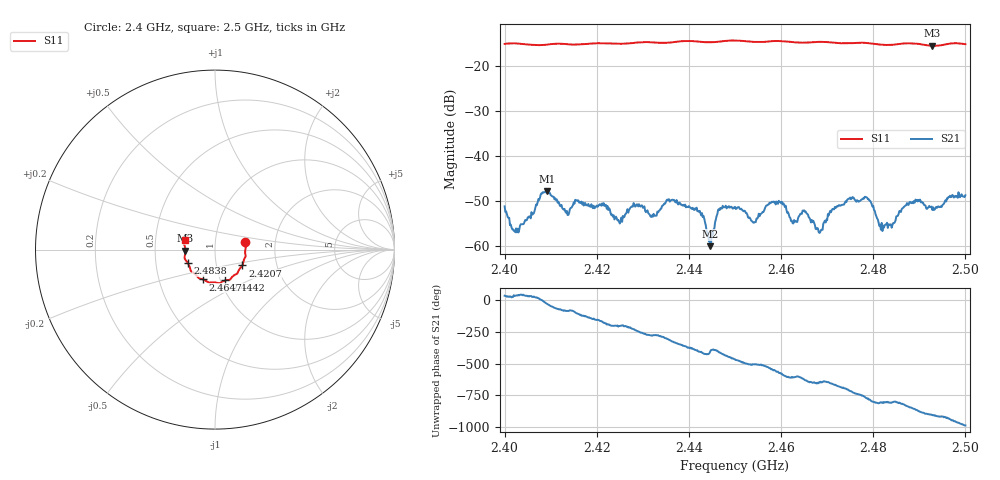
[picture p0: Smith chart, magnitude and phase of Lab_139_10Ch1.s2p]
# Hz S RI R 50
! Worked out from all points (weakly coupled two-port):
!   601 points, 2.4 GHz to 2.5 GHz, reference 50 ohm
!   highest |S21| = -47.80 dB at 2.4092 GHz (marker M1); lowest = -60.0 dB at 2.4447 GHz (marker M2)
!   lowest |S11| = -15.6 dB at 2.4928 GHz (marker M3), VSWR 1.40, Z = 35.8 - j0.473 ohm
!   |S11| at or under -10 dB: start of sweep to end of sweep
!   S12 and S22 are empty: the file has one direction only
!   S11 on the Smith chart (normalised r, x): 2.4 GHz: 1.40, +0.12; 2.4207 GHz: 1.33, -0.24; 2.4442 GHz: 1.06, -0.37; 2.4647 GHz: 0.83, -0.29; 2.4838 GHz: 0.73, -0.11; 2.5 GHz: 0.71, +0.08
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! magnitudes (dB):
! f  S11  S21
! 2.4 GHz  -15.2  -51.2
! 2.4027 GHz  -15.1  -57.0
! 2.4092 GHz  -15.4  -47.8
! 2.4135 GHz  -15.3  -52.2
! 2.4167 GHz  -15.3  -50.2
! 2.4207 GHz  -15.1  -50.7
! 2.425 GHz  -15.2  -55.0
! 2.4333 GHz  -15.0  -52.5
! 2.4418 GHz  -14.7  -52.3
! 2.4442 GHz  -14.9  -57.1
! 2.4447 GHz  -14.8  -60.0
! 2.4468 GHz  -14.7  -51.6
! 2.45 GHz  -14.5  -51.3
! 2.4647 GHz  -14.9  -52.1
! 2.4667 GHz  -14.8  -54.2
! 2.4685 GHz  -14.8  -56.9
! 2.4783 GHz  -15.0  -49.1
! 2.4833 GHz  -15.4  -55.2
! 2.4838 GHz  -15.4  -55.2
! 2.4877 GHz  -15.1  -50.9
! 2.4928 GHz  -15.6  -52.0
! 2.5 GHz  -15.3  -48.8
